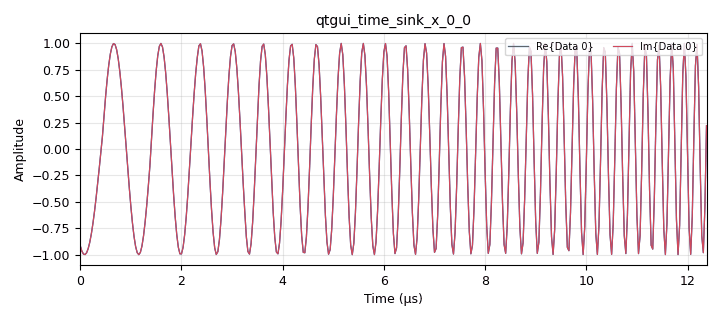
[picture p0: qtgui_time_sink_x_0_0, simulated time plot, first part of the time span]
options:
  parameters:
    generate_options: qt_gui
    id: complexGPR
    output_language: python
    title: Not titled yet
  states: {}

blocks:
- name: samp_rate
  id: variable
  parameters:
    value: '32000'
  states: {}
- name: blocks_complex_to_mag_0
  id: blocks_complex_to_mag
  parameters: {}
  states: {}
- name: blocks_conjugate_cc_0
  id: blocks_conjugate_cc
  parameters: {}
  states: {}
- name: blocks_float_to_complex_0
  id: blocks_float_to_complex
  parameters: {}
  states: {}
- name: blocks_multiply_const_vxx_0
  id: blocks_multiply_const_vxx
  parameters:
    const: '0.000010'
    type: complex
  states: {}
- name: blocks_multiply_xx_0
  id: blocks_multiply_xx
  parameters:
    type: complex
  states: {}
- name: blocks_repeat_0
  id: blocks_repeat
  parameters:
    interp: '30'
    type: float
  states: {}
- name: blocks_stream_to_vector_0
  id: blocks_stream_to_vector
  parameters:
    type: complex
  states: {}
- name: blocks_stream_to_vector_1
  id: blocks_stream_to_vector
  parameters:
    type: complex
  states: {}
- name: blocks_stream_to_vector_2
  id: blocks_stream_to_vector
  parameters:
    type: complex
  states: {}
- name: blocks_vco_f_0
  id: blocks_vco_f
  parameters:
    amplitude: '1'
    samp_rate: '4000000'
    sensitivity: '200000'
  states: {}
- name: blocks_vector_source_x_0
  id: blocks_vector_source_x
  parameters:
    repeat: 'True'
    type: float
    vector: (1, 2,  3, 4, 5, 6, 7, 8, 9, 10, 11, 12, 13, 14, 15, 16, 17, 18, 19, 20, 21, 22, 23, 24, 25, 26, 27, 28, 29, 30)
  states: {}
- name: blocks_vector_to_stream_3
  id: blocks_vector_to_stream
  parameters:
    type: complex
  states: {}
- name: blocks_vector_to_stream_3_0
  id: blocks_vector_to_stream
  parameters:
    type: complex
  states: {}
- name: blocks_vector_to_stream_3_0_0
  id: blocks_vector_to_stream
  parameters:
    type: complex
  states: {}
- name: epy_block_1
  id: epy_block
  parameters:
    _source_code: "\nfrom gnuradio import gr\nimport numpy as np\nimport asyncio\nimport websockets\nimport json\n\n\nclass websocket_float_sink(gr.sync_block):\n    def __init__(self, uri=\"ws://localhost:8765\", downsample=10):\n        gr.sync_block.__init__(\n            self,\n            name=\"websocket_float_sink\",\n            in_sig=[np.float32],\n            out_sig=[]\n        )\n        self.uri = uri\n        self.downsample = downsample\n\n    def work(self, input_items, output_items):\n        samples = input_items[0]\n        reduced = samples[::self.downsample]\n        data = {\"values\": reduced.tolist()}\n        try:\n            asyncio.run(self.send_data(data))\n        except Exception:\n            pass\n        return len(samples)\n        print(\"Sending float data:\", reduced[:5])\n\n    async def send_data(self, data):\n        async with websockets.connect(self.uri) as websocket:\n            await websocket.send(json.dumps(data))\n\n"
    downsample: '10'
    uri: '''ws://localhost:8765'''
  states: {}
- name: iio_pluto_sink_0
  id: iio_pluto_sink
  parameters:
    attenuation1: '10.0'
    bandwidth: '20000000'
    buffer_size: '32768'
    cyclic: 'False'
    filter_source: '''Auto'''
    frequency: '2400000000'
    samplerate: '32000000'
    type: fc32
    uri: 192.168.2.1
  states: {}
- name: iio_pluto_source_0
  id: iio_pluto_source
  parameters:
    bandwidth: '20000000'
    bbdc: 'True'
    buffer_size: '32768'
    filter_source: '''Auto'''
    frequency: '2400000000'
    gain1: '''slow_attack'''
    quadrature: 'True'
    rfdc: 'True'
    samplerate: '32000000'
    type: fc32
    uri: 192.168.2.1
  states: {}
- name: qtgui_sink_x_0
  id: qtgui_sink_x
  parameters:
    bw: '32000000'
    fc: '0'
    fftsize: '1024'
    rate: '10000000000'
    type: complex
  states: {}
- name: qtgui_time_sink_x_0
  id: qtgui_time_sink_x
  parameters:
    autoscale: 'True'
    size: '1024'
    srate: '32000000'
    type: complex
  states: {}
- name: qtgui_time_sink_x_0_0
  id: qtgui_time_sink_x
  parameters:
    autoscale: 'True'
    size: '1024'
    srate: '32000000'
    type: complex
  states: {}
- name: qtgui_time_sink_x_1
  id: qtgui_time_sink_x
  parameters:
    autoscale: 'True'
    size: '1024'
    srate: '32000000'
    type: float
  states: {}

connections:
- [blocks_complex_to_mag_0, '0', epy_block_1, '0']
- [blocks_complex_to_mag_0, '0', qtgui_time_sink_x_1, '0']
- [blocks_conjugate_cc_0, '0', blocks_multiply_xx_0, '0']
- [blocks_float_to_complex_0, '0', blocks_stream_to_vector_0, '0']
- [blocks_float_to_complex_0, '0', iio_pluto_sink_0, '0']
- [blocks_float_to_complex_0, '0', qtgui_time_sink_x_0_0, '0']
- [blocks_multiply_const_vxx_0, '0', blocks_complex_to_mag_0, '0']
- [blocks_multiply_xx_0, '0', blocks_stream_to_vector_2, '0']
- [blocks_repeat_0, '0', blocks_vco_f_0, '0']
- [blocks_stream_to_vector_0, '0', blocks_vector_to_stream_3, '0']
- [blocks_stream_to_vector_1, '0', blocks_vector_to_stream_3_0, '0']
- [blocks_stream_to_vector_2, '0', blocks_vector_to_stream_3_0_0, '0']
- [blocks_vco_f_0, '0', blocks_float_to_complex_0, '0']
- [blocks_vco_f_0, '0', blocks_float_to_complex_0, '1']
- [blocks_vector_source_x_0, '0', blocks_repeat_0, '0']
- [blocks_vector_to_stream_3, '0', blocks_multiply_xx_0, '1']
- [blocks_vector_to_stream_3_0, '0', blocks_conjugate_cc_0, '0']
- [blocks_vector_to_stream_3_0_0, '0', blocks_multiply_const_vxx_0, '0']
- [iio_pluto_source_0, '0', blocks_stream_to_vector_1, '0']
- [iio_pluto_source_0, '0', qtgui_sink_x_0, '0']
- [iio_pluto_source_0, '0', qtgui_time_sink_x_0, '0']

metadata:
  file_format: 1
  grc_version: 3.10.5.1
